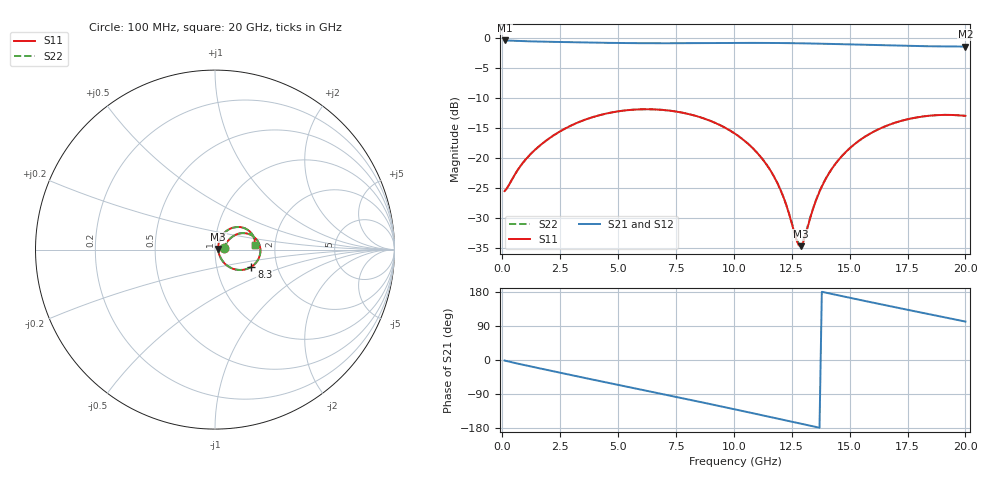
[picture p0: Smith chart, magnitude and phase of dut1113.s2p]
! Touchstone file exported from HFSS 2026.1.0
!  File:  C:/ffzhzh/LocalFiles/Ansys_Project_Files/temp_train_TSV_RDL_1113_1783305343_38820.aedt
!  Generated:  10:46:33 AM Jul  6, 2026
!  Design:  TSV_RDL
!  Project:  temp_train_TSV_RDL_1113_1783305343_38820
! Variables:
!  h_bsmrdl = 2.38um
!  h_ox = 20um
!  h_rdl = 5um
!  h_sub = 66.25um
!  h_tmrdl = 3.06um
!  h_tsv = 66.25um
!  h_via = 3um
!  l_bsmrdl = 627um
!  l_sub = 4450.11um
!  l_tmrdl = 524.33um
!  m_sub = 200um
!  pitch = 17.05um
!  r_tsv = 2.22um
!  s_tmrdl = 10um
!  w_bsmrdl = 13.89um
!  w_sub = 500um
!  w_tmrdl = 10.04um
!  x_tsv_center1 = 529.35um
!  x_tsv_center2 = 1170.24um
!  x_tsv_center3 = 1704.61um
!  x_tsv_center4 = 2345.5um
!  x_tsv_center5 = 2879.87um
!  x_tsv_center6 = 3520.76um
# GHz S MA R 50.000000
! Terminal data exported
! Port[1] = TM_RDL1_1_T1
! Port[2] = TM_RDL5_1_T1
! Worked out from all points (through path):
!   200 points, 100 MHz to 20 GHz, reference 50 ohm
!   highest |S21| = -0.46 dB at 100 MHz (marker M1); lowest = -1.5 dB at 20 GHz (marker M2)
!   group delay of S21, straight-line fit = 35.9 ps
!   lowest |S11| = -34.8 dB at 12.9 GHz (marker M3), VSWR 1.04, Z = 51.8 + j0.326 ohm
!   |S11| at or under -10 dB: start of sweep to end of sweep
!   |S22| runs from -34.4 to -11.9 dB; largest |S21 - S12| = 1.6e-14
!   S11 on the Smith chart (normalised r, x): 100 MHz: 1.11, +0.02; 8.3 GHz: 1.47, -0.30; 20 GHz: 1.57, +0.08
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0.1  0.05265 8.2  0.9481 -1.5  0.9481 -1.5  0.05265 8.2
! Gamma 0 0 0 0
! Port Impedance 50 0 50 0
0.8  0.0859 33.8  0.9373 -11.3  0.9373 -11.3  0.08589 33.8
1.5  0.1202 36.5  0.929 -20.6  0.929 -20.6  0.1202 36.5
2.4  0.1614 33.6  0.9212 -32.3  0.9212 -32.3  0.1613 33.6
3.5  0.2046 25.4  0.9125 -46.6  0.9125 -46.6  0.2046 25.5
5.2  0.2461 8.8  0.9022 -68.2  0.9022 -68.2  0.2461 8.9
6.8  0.251 -8.5  0.8986 -88.4  0.8986 -88.4  0.251 -8.4
8.3  0.2243 -25.2  0.9004 -107.5  0.9004 -107.5  0.2243 -25.1
10.1  0.1559 -44.9  0.9044 -130.9  0.9044 -130.9  0.1559 -44.7
11  0.1101 -53.2  0.9047 -142.8  0.9047 -142.8  0.1102 -52.9
11.7  0.0714 -56.7  0.9035 -152.2  0.9035 -152.2  0.07153 -56.2
12.2  0.04361 -53.1  0.9016 -158.8  0.9016 -158.8  0.04386 -52.3
12.7  0.02067 -22.5  0.899 -165.5  0.899 -165.5  0.02126 -21.6
12.9  0.01827 9.9  0.8977 -168.1  0.8977 -168.1  0.01896 9.8
13  0.01982 26.0  0.897 -169.5  0.897 -169.5  0.02048 25.2
13.4  0.03635 57.3  0.894 -174.8  0.894 -174.8  0.03674 56.4
13.9  0.06281 64.3  0.8896 178.7  0.8896 178.7  0.06306 63.6
14.6  0.09965 62.0  0.8827 169.5  0.8827 169.5  0.09982 61.6
15.5  0.1424 54.3  0.8732 157.8  0.8732 157.8  0.1426 54.0
16.7  0.1876 42.0  0.861 142.6  0.861 142.6  0.1877 41.7
18.4  0.2231 23.6  0.8483 121.3  0.8483 121.3  0.2232 23.3
20  0.2228 6.2  0.8438 101.4  0.8438 101.4  0.2229 6.0
